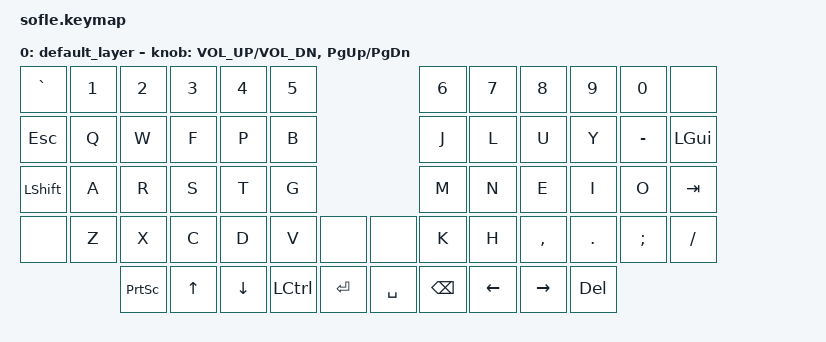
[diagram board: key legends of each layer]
/*
 * Copyright (c) 2020 The ZMK Contributors
 *
 * SPDX-License-Identifier: MIT
 */


#include <behaviors.dtsi>
#include <dt-bindings/zmk/bt.h>
#include <dt-bindings/zmk/ext_power.h>
#include <dt-bindings/zmk/keys.h>
#include <dt-bindings/zmk/outputs.h>
#include <dt-bindings/zmk/rgb.h>

&led_strip {
    chain-length = <35>;
};

&left_encoder {
    resolution = <2>;
};


/ {
    keymap {
        compatible = "zmk,keymap";

        default_layer {
            bindings = <
&kp GRAVE &kp N1 &kp N2    &kp N3   &kp N4    &kp N5                         &kp N6    &kp N7    &kp N8    &kp N9   &kp N0       &none
&kp ESC   &kp Q  &kp W     &kp F    &kp P     &kp B                          &kp J     &kp L     &kp U     &kp Y    &kp MINUS    &kp LGUI
&kp LSHFT &kp A  &kp R     &kp S    &kp T     &kp G                          &kp M     &kp N     &kp E     &kp I    &kp O        &kp TAB
&none     &kp Z  &kp X     &kp C    &kp D     &kp V     &none      &none     &kp K     &kp H     &kp COMMA &kp DOT  &kp SEMI     &kp FSLH
                 &kp PSCRN &kp UP   &kp DOWN &kp LCTRL  &kp RET    &kp SPACE &kp BSPC  &kp LEFT  &kp RIGHT &kp DEL
            >;

            sensor-bindings = <&inc_dec_kp C_VOL_UP C_VOL_DN &inc_dec_kp PG_UP PG_DN>;
        };

//          lower_layer {
//  // TODO: Some binds are waiting for shifted keycode support.
//  // ------------------------------------------------------------------------------------------------------------
//  // |       |  F1 |  F2 |  F3  |  F4  |  F5  |                   |  F6  |  F7   |  F8   |  F9  |  F10  |  F11  |
//  // | `     |   1 |   2 |   3  |   4  |   5  |                   |   6  |   7   |   8   |   9  |    0  |  F12  |
//  // |       |  !  |  @  |  #   |  $   |  %   |                   |  ^   |  &    |  *    |  (   |   )   |   |   |
//  // |       |  =  |  -  |  +   |  {   |  }   |        |  |       |  [   |  ]    |  ;    |  :   |   \   |RGB TOG|
//  //               |     |      |      |      |        |  |       |      |       |       |      |
//              bindings = <
//  &trans    &kp F1    &kp F2    &kp F3      &kp F4    &kp F5                    &kp F6    &kp F7   &kp F8          &kp F9    &kp F10   &kp F11
//  &kp GRAVE &kp N1    &kp N2    &kp N3      &kp N4    &kp N5                    &kp N6    &kp N7   &kp N8          &kp N9    &kp N0    &kp F12
//  &trans    &kp EXCL  &kp AT    &kp HASH    &kp DLLR  &kp PRCNT                 &kp CARET &kp AMPS &kp KP_MULTIPLY &kp LPAR  &kp RPAR  &kp PIPE
//  &trans    &kp EQUAL &kp MINUS &kp KP_PLUS &kp LBRC  &kp RBRC  &trans   &trans &kp LBKT  &kp RBKT &kp SEMI        &kp COLON &kp BSLH  &rgb_ug RGB_TOG
//                      &trans    &trans      &trans    &trans    &trans   &trans &trans    &trans   &trans          &trans
//              >;
//  
//              sensor-bindings = <&inc_dec_kp C_VOL_UP C_VOL_DN &inc_dec_kp PG_UP PG_DN>;
//          };
//  
//          raise_layer {
//  // ------------------------------------------------------------------------------------------------------------
//  // |BTCLR| BT1  | BT2  |  BT3  |  BT4  |  BT5 |                |      |      |       |      |       |       |
//  // |     | INS  | PSCR | GUI   |       |      |                | PGUP |      |   ^   |      |       |       |
//  // |     | ALT  | CTRL | SHIFT |       | CAPS |                | PGDN |   <- |   v   |  ->  |  DEL  | BKSPC |
//  // |     | UNDO | CUT  | COPY  | PASTE |      |      |  |      |      |      |       |      |       |       |
//  //              |      |       |       |      |      |  |      |      |      |       |      |
//              bindings = <
//  &bt BT_CLR &bt BT_SEL 0 &bt BT_SEL 1 &bt BT_SEL 2 &bt BT_SEL 3 &bt BT_SEL 4             &trans    &trans    &trans   &trans    &trans  &trans
//  &trans     &kp INS      &kp PSCRN    &kp K_CMENU  &trans       &trans                   &kp PG_UP &trans    &kp UP   &trans    &kp N0  &trans
//  &trans     &kp LALT     &kp LCTRL    &kp LSHFT    &trans       &kp CLCK                 &kp PG_DN &kp LEFT  &kp DOWN &kp RIGHT &kp DEL &kp BSPC
//  &trans     &kp K_UNDO   &kp K_CUT    &kp K_COPY   &kp K_PASTE  &trans  &trans   &trans  &trans    &trans    &trans   &trans    &trans  &trans
//                          &trans       &trans       &trans       &trans  &trans   &trans  &trans    &trans    &trans   &trans
//              >;
//  
//              sensor-bindings = <&inc_dec_kp C_VOL_UP C_VOL_DN &inc_dec_kp PG_UP PG_DN>;
//          };
    };
};
